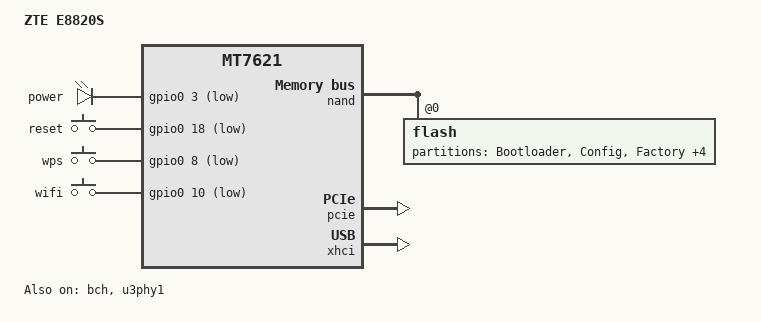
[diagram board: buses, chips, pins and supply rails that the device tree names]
/dts-v1/;

#include "mt7621.dtsi"
#include <dt-bindings/input/input.h>
#include "mt7621-raeth-gmac2.dtsi"
#include "mt7621-pinctrl-default-gpio.dtsi"

/ {
	compatible = "mediatek,mt7621-soc";
	model = "ZTE E8820S";

	chosen {
		bootargs = "console=ttyS0,115200";
	};

	leds {
		compatible = "gpio-leds";
    
    		sys_white {
			label = "power";
			gpios = <&gpio0 3 GPIO_ACTIVE_LOW>;
		};
	};
	
	gpio-keys-polled {
		compatible = "gpio-keys-polled";
		#address-cells = <1>;
		#size-cells = <0>;
		poll-interval = <20>;

		reset {
			label = "reset";
			gpios = <&gpio0 18 GPIO_ACTIVE_LOW>;
			linux,code = <KEY_RESTART>;
		};
		
		wps {
			label = "wps";
			gpios = <&gpio0 8 GPIO_ACTIVE_LOW>;
			linux,code = <KEY_WPS_BUTTON>;
		};
		
		wifi {
			label = "wifi";
			gpios = <&gpio0 10 GPIO_ACTIVE_LOW>;
			linux,code = <KEY_RFKILL>;
		};
	};
	
};

&bch {
	status = "okay";
};

&nand {
	status = "okay";

	flash@0 {
		reg = <0>;
		nand-ecc-mode = "hw";
		partitions {
			compatible = "fixed-partitions";
			#address-cells = <1>;
			#size-cells = <1>;

			partition@0 {
				label = "Bootloader";
				reg = <0x0 0x80000>; /* 512k */
			};
						
			partition@80000 {
				label = "Config";
				reg = <0x80000 0x80000>; /* 512k */
			};

			partition@100000 {
				label = "Factory";
				reg = <0x100000 0x40000>; /* 256k */
			};

			partition@140000 {
				label = "firmware";
				reg = <0x140000 0x2000000>; /* 32M */
			};
			
			partition@2140000 {
				label = "Storage";
				reg = <0x2140000 0x400000>; /* 4096K */
			};

			partition@2540000 {
				label = "RWFS";
				reg = <0x2540000 0x5A40000>;
			};

			partition@all {
				label = "ALL";
				reg = <0x0 0x7f80000>;
			};
		};
	};
};

&pcie {
	status = "okay";
};

&xhci {
	status = "okay";
};

&u3phy1 {
	status = "okay";
};
